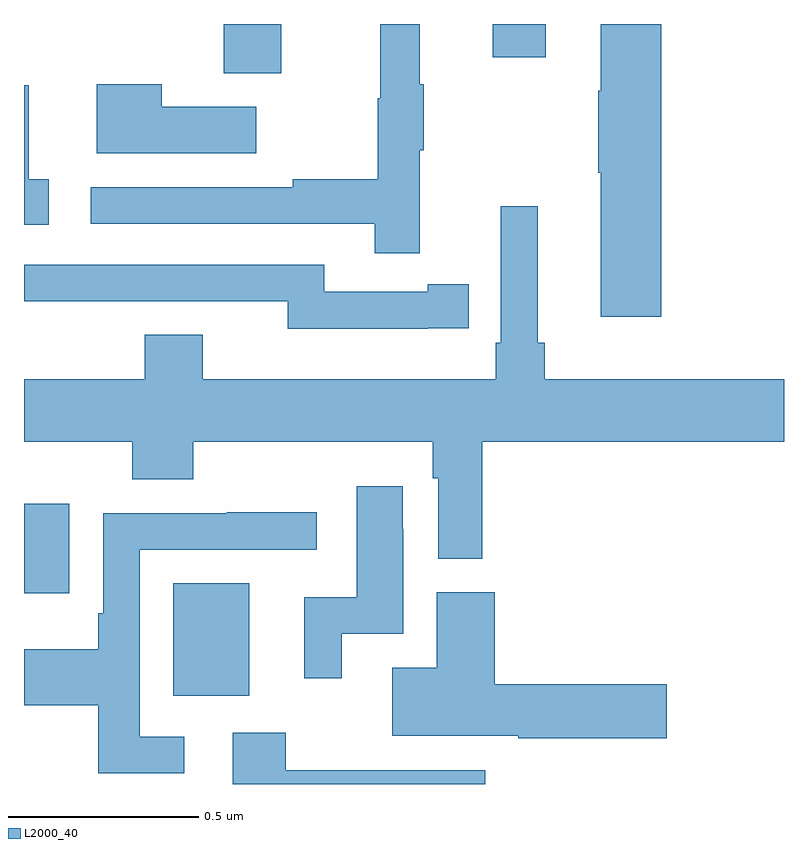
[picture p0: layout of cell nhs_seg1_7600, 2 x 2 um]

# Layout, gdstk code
import gdstk
lib = gdstk.Library(unit=1e-6, precision=1e-09)
def R(c, l, rs):  # rectangles x0, y0, x1, y1
    for r in rs: c.add(gdstk.rectangle(r[:2], r[2:], *l))
def P(c, l, *ps):  # polygons
    for p in ps: c.add(gdstk.Polygon(p, *l))
L2000_40 = (2000, 40)

nhs_seg1_7600 = lib.new_cell('nhs_seg1_7600')
R(nhs_seg1_7600, L2000_40, [(206.393,516.431,206.593,516.727), (206,516.701,206.119,516.937), (206.525,518.07,206.677,518.199), (207.233,518.112,207.373,518.199)])
P(nhs_seg1_7600, L2000_40, [(207.041,517.867),(207.052,517.867),(207.052,518.041),(207.041,518.041),(207.041,518.199),(206.938,518.199),(206.938,518.004),(206.931,518.004),(206.931,517.79),(206.707,517.79),(206.707,517.77),(206.175,517.77),(206.175,517.674),(206.923,517.674),(206.923,517.596),(207.041,517.596)],
  [(207.677,518.199),(207.518,518.199),(207.518,518.024),(207.511,518.024),(207.511,517.807),(207.518,517.807),(207.518,517.428),(207.677,517.428)],
  [(206.611,517.981),(206.363,517.981),(206.363,518.041),(206.192,518.041),(206.192,517.859),(206.611,517.859)],
  [(206.065,517.791),(206.012,517.791),(206.012,518.038),(206,518.038),(206,517.671),(206.065,517.671)],
  [(207.206,517.1),(208,517.1),(208,517.264),(207.371,517.264),(207.371,517.36),(207.352,517.36),(207.352,517.72),(207.255,517.72),(207.255,517.36),(207.242,517.36),(207.242,517.264),(206.47,517.264),(206.47,517.381),(206.318,517.381),(206.318,517.264),(206,517.264),(206,517.1),(206.285,517.1),(206.285,517.001),(206.445,517.001),(206.445,517.1),(207.075,517.1),(207.075,517.004),(207.09,517.004),(207.09,516.792),(207.206,516.792)],
  [(207.062,517.398),(207.17,517.398),(207.17,517.514),(207.062,517.514),(207.062,517.494),(206.79,517.494),(206.79,517.566),(206,517.566),(206,517.469),(206.234,517.469),(206.234,517.47),(206.694,517.47),(206.694,517.397),(207.062,517.397)],
  [(206.836,516.594),(206.998,516.594),(206.998,516.869),(206.997,516.869),(206.997,516.982),(206.876,516.982),(206.876,516.69),(206.738,516.69),(206.738,516.477),(206.836,516.477)],
  [(206.422,516.324),(206.304,516.324),(206.304,516.816),(206.77,516.816),(206.77,516.914),(206.533,516.914),(206.533,516.912),(206.208,516.912),(206.208,516.649),(206.196,516.649),(206.196,516.553),(206,516.553),(206,516.406),(206.196,516.406),(206.196,516.227),(206.422,516.227)],
  [(207.691,516.461),(207.239,516.461),(207.239,516.703),(207.086,516.703),(207.086,516.505),(206.969,516.505),(206.969,516.326),(207.301,516.326),(207.301,516.319),(207.691,516.319)],
  [(207.214,516.235),(206.689,516.235),(206.689,516.334),(206.549,516.334),(206.549,516.199),(207.214,516.199)])

lib.write_gds('nhs_seg1_7600.gds')
